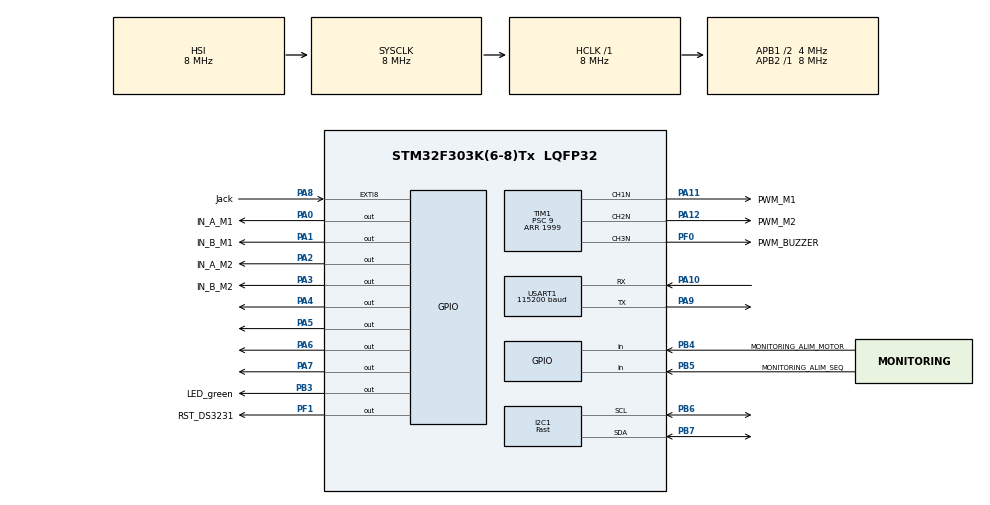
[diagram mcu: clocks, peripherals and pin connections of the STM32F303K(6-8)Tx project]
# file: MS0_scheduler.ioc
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I2C1.I2C_Speed_Mode=I2C_Fast
I2C1.Timing=0x0000020B
Mcu.Family=STM32F3
Mcu.Name=STM32F303K(6-8)Tx
Mcu.Package=LQFP32
NVIC.EXTI9_5_IRQn=true\:0\:0\:false\:false\:true\:true\:true
NVIC.PriorityGroup=NVIC_PRIORITYGROUP_4
NVIC.TIM2_IRQn=true\:0\:0\:false\:false\:true\:true\:true
NVIC.TIM3_IRQn=true\:0\:0\:false\:false\:true\:true\:true
PA0.GPIO_Label=IN_A_M1
PA0.Signal=GPIO_Output
PA1.GPIO_Label=IN_B_M1
PA1.Signal=GPIO_Output
PA10.Mode=Asynchronous
PA10.Signal=USART1_RX
PA11.GPIO_Label=PWM_M1
PA11.Mode=PWM Generation1 CH1N
PA11.Signal=TIM1_CH1N
PA12.GPIO_Label=PWM_M2
PA12.Mode=PWM Generation2 CH2N
PA12.Signal=TIM1_CH2N
PA13.GPIO_Label=SWDIO
PA13.Mode=Serial_Wire
PA13.Signal=SYS_JTMS-SWDIO
PA14.GPIO_Label=SWCLK
PA14.Mode=Serial_Wire
PA14.Signal=SYS_JTCK-SWCLK
PA2.GPIO_Label=IN_A_M2
PA2.Signal=GPIO_Output
PA3.GPIO_Label=IN_B_M2
PA3.Signal=GPIO_Output
PA4.Signal=GPIO_Output
PA5.Signal=GPIO_Output
PA6.Signal=GPIO_Output
PA7.Signal=GPIO_Output
PA8.GPIO_Label=Jack
PA8.GPIO_ModeDefaultEXTI=GPIO_MODE_IT_FALLING
PA8.GPIO_PuPd=GPIO_PULLDOWN
PA8.Signal=GPXTI8
PA9.Mode=Asynchronous
PA9.Signal=USART1_TX
PB3.GPIO_Label=LED_green
PB3.Signal=GPIO_Output
PB4.GPIO_Label=MONITORING_ALIM_MOTOR
PB4.Signal=GPIO_Input
PB5.GPIO_Label=MONITORING_ALIM_SEQ
PB5.Signal=GPIO_Input
PB6.Mode=I2C
PB6.Signal=I2C1_SCL
PB7.Mode=I2C
PB7.Signal=I2C1_SDA
PF0\ /\ OSC_IN.GPIO_Label=PWM_BUZZER
PF0\ /\ OSC_IN.Mode=PWM Generation3 CH3N
PF0\ /\ OSC_IN.Signal=TIM1_CH3N
PF1\ /\ OSC_OUT.GPIO_Label=RST_DS3231
PF1\ /\ OSC_OUT.PinState=GPIO_PIN_SET
PF1\ /\ OSC_OUT.Signal=GPIO_Output
ProjectManager.HeapSize=0x200
ProjectManager.StackSize=0x400
ProjectManager.TargetToolchain=STM32CubeIDE
RCC.AHBFreq_Value=8000000
RCC.APB1CLKDivider=RCC_HCLK_DIV2
RCC.APB1Freq_Value=4000000
RCC.APB1TimFreq_Value=8000000
RCC.APB2Freq_Value=8000000
RCC.APB2TimFreq_Value=8000000
RCC.CortexFreq_Value=8000000
RCC.HCLKFreq_Value=8000000
RCC.HSE_VALUE=8000000
RCC.HSI_VALUE=8000000
RCC.PLLMUL=RCC_PLL_MUL4
RCC.SYSCLKFreq_VALUE=8000000
TIM1.AutoReloadPreload=TIM_AUTORELOAD_PRELOAD_ENABLE
TIM1.Channel-PWM\ Generation1\ CH1N=TIM_CHANNEL_1
TIM1.Channel-PWM\ Generation2\ CH2N=TIM_CHANNEL_2
TIM1.Channel-PWM\ Generation3\ CH3N=TIM_CHANNEL_3
TIM1.Period=1999
TIM1.Prescaler=9
TIM1.Pulse-PWM\ Generation3\ CH3N=999
TIM2.AutoReloadPreload=TIM_AUTORELOAD_PRELOAD_DISABLE
TIM2.Period=60000
TIM2.Prescaler=2596
TIM2.TIM_MasterOutputTrigger=TIM_TRGO_RESET
TIM3.Period=60000
TIM3.Prescaler=2124
USART1.BaudRate=115200
USART1.Mode=MODE_TX_RX
USART1.VirtualMode-Asynchronous=VM_ASYNC
VP_TIM1_VS_ClockSourceINT.Mode=Internal
VP_TIM2_VS_ClockSourceINT.Mode=Internal
VP_TIM3_VS_ClockSourceINT.Mode=Internal
board=NUCLEO-F303K8

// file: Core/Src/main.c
/* USER CODE BEGIN Header */
/** ************************************************************* *
 * @file        main.c
 * @brief
 *
 * @date        2021-05-16
 * @author      Quentin Bakrim (quentin.bakrim@hotmail.fr)
 *
 * Mines Space
 *
 * ************************************************************* **/

/* USER CODE END Header */
#include "main.h"
#include "i2c.h"
#include "tim.h"
#include "usart.h"
#include "gpio.h"

/* USER CODE BEGIN Includes */
/* ------------------------------------------------------------- --
	user includes
-- ------------------------------------------------------------- */
/* HW scheduler */
#include "jack.h"
#include "buzzer.h"
#include "mpu6050.h"
#include "ds3231.h"

/* SW scheduler */
#include "window.h"
#include "synchro.h"
#include "routines.h"

/* broadcast */
#include "broadcast.h"

/* recovery system */
#include "recsys.h"

/* configuration */
#include "config_file.h"

/* USER CODE END Includes */

void SystemClock_Config(void);
/* USER CODE BEGIN PFP */
void IT_manager(void);
/* USER CODE END PFP */

int main(void)
{

  /* MCU Configuration--------------------------------------------------------*/

  /* Reset of all peripherals, Initializes the Flash interface and the Systick. */
  HAL_Init();

  /* Configure the system clock */
  SystemClock_Config();

  /* Initialize all configured peripherals */
  MX_GPIO_Init();
  MX_TIM2_Init();
  MX_I2C1_Init();
  MX_USART1_UART_Init();
  MX_TIM1_Init();
  MX_TIM3_Init();
  /* USER CODE BEGIN 2 */

  //__HAL_TIM_CLEAR_FLAG(&htim2, TIM_SR_UIF);
  //__HAL_TIM_CLEAR_FLAG(&htim3, TIM_SR_UIF);

	/* scheduler init */
	synchro_init();
	window_init();

	/* hardware init */
	buzzer_init();
	jack_init();
	DS3231_Init();
	RECSYS_Init();
	//////////////////////////////////////////////////////////// REMOVE for debug ///////////////////////
    if(MPU6050_Init() == HAL_ERROR) SCB->AIRCR = 0x05fa0004;
	//MPU6050_Init();
  /* close the recovery system (blocking mode) */
    while(RECSYS_check_locked() != 0x03) {;}
    //////////////////////////////////////////////////////////// REMOVE for debug ///////////////////////

	/* set the scheduler in wait status */
	HAL_Delay(1000);
	phase_set(PHASE_WAIT);
	broadcast_uart_send(MSG_ID_phase_wait);

  /* USER CODE END 2 */

  /* Infinite loop */
  /* USER CODE BEGIN WHILE */
  	while (1)
  	{
		/* get new time reference for synchro */
		synchro_update();

		/* manage the IT received during the last cycle */
		IT_manager();

		/* select the scheduled routine */
		switch(phase_get())
		{
			case PHASE_WAIT :
			buzzer_update(BUZZER_WAIT_DELAY, BUZZER_WAIT_RATIO);
			routine_wait();
			break;

			case PHASE_ASCEND :
			buzzer_update(BUZZER_ASCEND_DELAY, BUZZER_ASCEND_RATIO);
			routine_ascend();
			break;

			case PHASE_DEPLOY :
			routine_deploy();
			break;

			case PHASE_DESCEND :
			buzzer_update(BUZZER_DESCEND_DELAY, BUZZER_DESCEND_RATIO);
			routine_descend();
			break;

			case PHASE_LANDED :
			buzzer_update(BUZZER_LANDED_DELAY, BUZZER_LANDED_RATIO);
			routine_landed();
			break;

			default :
			break;
		}

		/* wait the synchro time */
		synchro_wait();

    /* USER CODE END WHILE */

  }
}

void SystemClock_Config(void)
{
  RCC_OscInitTypeDef RCC_OscInitStruct = {0};
  RCC_ClkInitTypeDef RCC_ClkInitStruct = {0};
  RCC_PeriphCLKInitTypeDef PeriphClkInit = {0};

  /** Initializes the RCC Oscillators according to the specified parameters
  * in the RCC_OscInitTypeDef structure.
  */
  RCC_OscInitStruct.OscillatorType = RCC_OSCILLATORTYPE_HSI;
  RCC_OscInitStruct.HSIState = RCC_HSI_ON;
  RCC_OscInitStruct.HSICalibrationValue = RCC_HSICALIBRATION_DEFAULT;
  RCC_OscInitStruct.PLL.PLLState = RCC_PLL_NONE;
  if (HAL_RCC_OscConfig(&RCC_OscInitStruct) != HAL_OK)
  {
    Error_Handler();
  }
  /** Initializes the CPU, AHB and APB buses clocks
  */
  RCC_ClkInitStruct.ClockType = RCC_CLOCKTYPE_HCLK|RCC_CLOCKTYPE_SYSCLK
                              |RCC_CLOCKTYPE_PCLK1|RCC_CLOCKTYPE_PCLK2;
  RCC_ClkInitStruct.SYSCLKSource = RCC_SYSCLKSOURCE_HSI;
  RCC_ClkInitStruct.AHBCLKDivider = RCC_SYSCLK_DIV1;
  RCC_ClkInitStruct.APB1CLKDivider = RCC_HCLK_DIV2;
  RCC_ClkInitStruct.APB2CLKDivider = RCC_HCLK_DIV1;

  if (HAL_RCC_ClockConfig(&RCC_ClkInitStruct, FLASH_LATENCY_0) != HAL_OK)
  {
    Error_Handler();
  }
  PeriphClkInit.PeriphClockSelection = RCC_PERIPHCLK_USART1|RCC_PERIPHCLK_I2C1
                              |RCC_PERIPHCLK_TIM1;
  PeriphClkInit.Usart1ClockSelection = RCC_USART1CLKSOURCE_PCLK1;
  PeriphClkInit.I2c1ClockSelection = RCC_I2C1CLKSOURCE_HSI;
  PeriphClkInit.Tim1ClockSelection = RCC_TIM1CLK_HCLK;
  if (HAL_RCCEx_PeriphCLKConfig(&PeriphClkInit) != HAL_OK)
  {
    Error_Handler();
  }
}

/* USER CODE BEGIN 4 */

/** ************************************************************* *
 * @brief       the timer IT callback manager is trigged by the
 * 				timer IT and set the associated flag to true
 *
 * @param       htim
 * ************************************************************* **/
void HAL_TIM_PeriodElapsedCallback(TIM_HandleTypeDef* htim)
{
    if (htim->Instance == TIM2) IT_flag_window_relock();
	if (htim->Instance == TIM3) IT_flag_window_unlock();
}

/** ************************************************************* *
 * @brief       the GPIO IT callback manager is trigged by the
 * 				GPIO IT and set the associated flag to true
 *
 * @param       GPIO_Pin
 * ************************************************************* **/
void HAL_GPIO_EXTI_Callback(uint16_t GPIO_Pin)
{
	if(GPIO_Pin == Jack_Pin) IT_flag_jack();
}

/** ************************************************************* *
 * @brief       the IT manager check the IT flag and launch
 * 				the functions associated
 *
 * ************************************************************* **/
void IT_manager(void)
{
	if(get_winU_IT_flag()	== true) IT_routine_window_unlock();
	if(get_winR_IT_flag()	== true) IT_routine_window_relock();
	if(get_jack_IT_flag() 	== true) IT_routine_jack();
}

/* USER CODE END 4 */

void Error_Handler(void)
{
}

/************************ (C) COPYRIGHT STMicroelectronics *****END OF FILE****/
